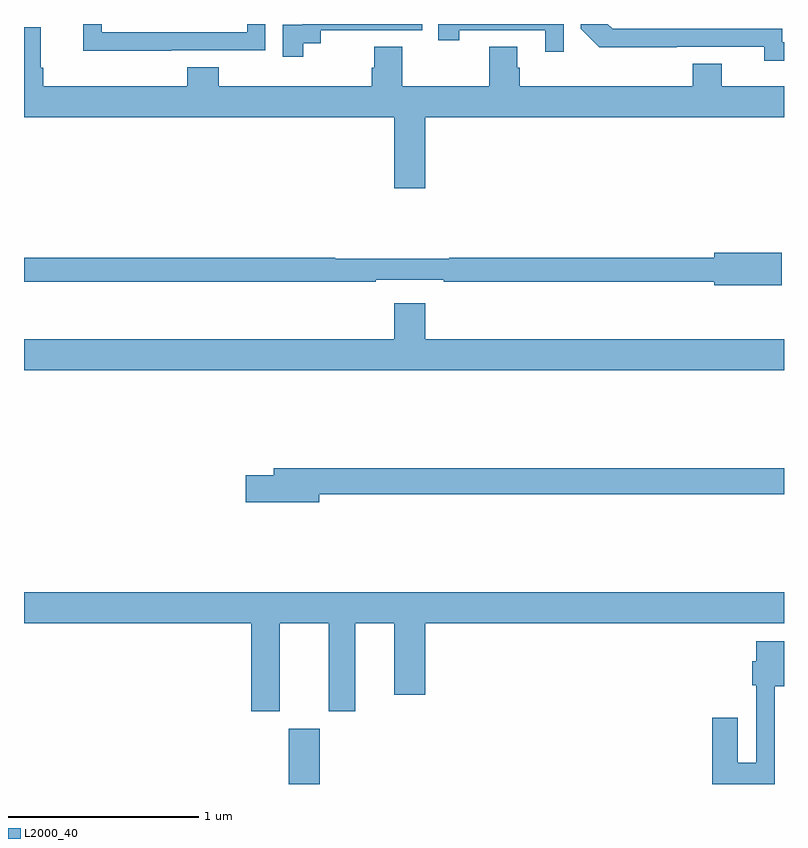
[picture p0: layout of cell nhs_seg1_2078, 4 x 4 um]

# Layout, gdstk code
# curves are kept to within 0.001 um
import gdstk
lib = gdstk.Library(unit=1e-6, precision=1e-09)
def R(c, l, rs):  # rectangles x0, y0, x1, y1
    for r in rs: c.add(gdstk.rectangle(r[:2], r[2:], *l))
def P(c, l, *ps):  # polygons
    for p in ps: c.add(gdstk.Polygon(p, *l))
L2000_40 = (2000, 40)

nhs_seg1_2078 = lib.new_cell('nhs_seg1_2078')
R(nhs_seg1_2078, L2000_40, [(224.393,572.199,224.557,572.491)])
P(nhs_seg1_2078, L2000_40, [(225.84,576.199),(225.181,576.199),(225.181,576.114),(225.292,576.114),(225.292,576.165),(225.743,576.165),(225.743,576.054),(225.84,576.054)],
  [(227,576.102),(226.992,576.102),(226.992,576.174),(226.098,576.174),(226.073,576.199),(225.93,576.199),(225.93,576.174),(226.028,576.077),(226.896,576.078),(226.896,576.005),(227,576.005)],
  [(223.775,576.06),(224.271,576.06),(224.271,576.199),(224.175,576.199),(224.175,576.156),(223.41,576.156),(223.41,576.199),(223.312,576.199),(223.312,576.059),(223.775,576.059)],
  [(224.47,576.097),(224.562,576.097),(224.562,576.165),(225.096,576.165),(225.096,576.199),(224.466,576.199),(224.466,576.195),(224.361,576.195),(224.361,576.027),(224.47,576.027)],
  [(225.112,575.708),(227,575.708),(227,575.872),(226.672,575.872),(226.672,575.989),(226.52,575.989),(226.52,575.872),(225.608,575.872),(225.608,575.97),(225.595,575.97),(225.595,576.08),(225.448,576.08),(225.448,575.872),(224.991,575.872),(224.991,576.08),(224.843,576.08),(224.843,575.97),(224.831,575.97),(224.831,575.872),(224.024,575.872),(224.024,575.971),(223.859,575.971),(223.859,575.872),(223.1,575.872),(223.1,575.968),(223.087,575.968),(223.087,576.181),(223,576.181),(223,575.708),(224.948,575.708),(224.948,575.334),(225.112,575.334)],
  [(226.987,574.994),(226.634,574.994),(226.634,574.97),(225.238,574.97),(225.238,574.963),(224.638,574.963),(224.638,574.97),(223,574.97),(223,574.842),(224.852,574.842),(224.852,574.854),(225.208,574.854),(225.208,574.842),(226.634,574.842),(226.634,574.823),(226.987,574.823)],
  [(227,574.54),(225.112,574.54),(225.112,574.729),(224.948,574.729),(224.948,574.54),(223,574.54),(223,574.376),(227,574.376)],
  [(224.554,573.724),(227,573.724),(227,573.86),(224.315,573.86),(224.315,573.824),(224.166,573.824),(224.166,573.682),(224.554,573.682)],
  [(224.347,573.044),(224.603,573.044),(224.603,572.583),(224.743,572.583),(224.743,573.044),(224.948,573.044),(224.948,572.67),(225.112,572.67),(225.112,573.044),(227,573.044),(227,573.208),(223,573.208),(223,573.044),(224.195,573.044),(224.195,572.583),(224.347,572.583)],
  [(226.95,572.714),(227,572.714),(227,572.95),(226.853,572.95),(226.853,572.846),(226.834,572.846),(226.834,572.718),(226.854,572.718),(226.854,572.312),(226.756,572.312),(226.756,572.548),(226.622,572.548),(226.622,572.199),(226.95,572.199)])

lib.write_gds('nhs_seg1_2078.gds')
